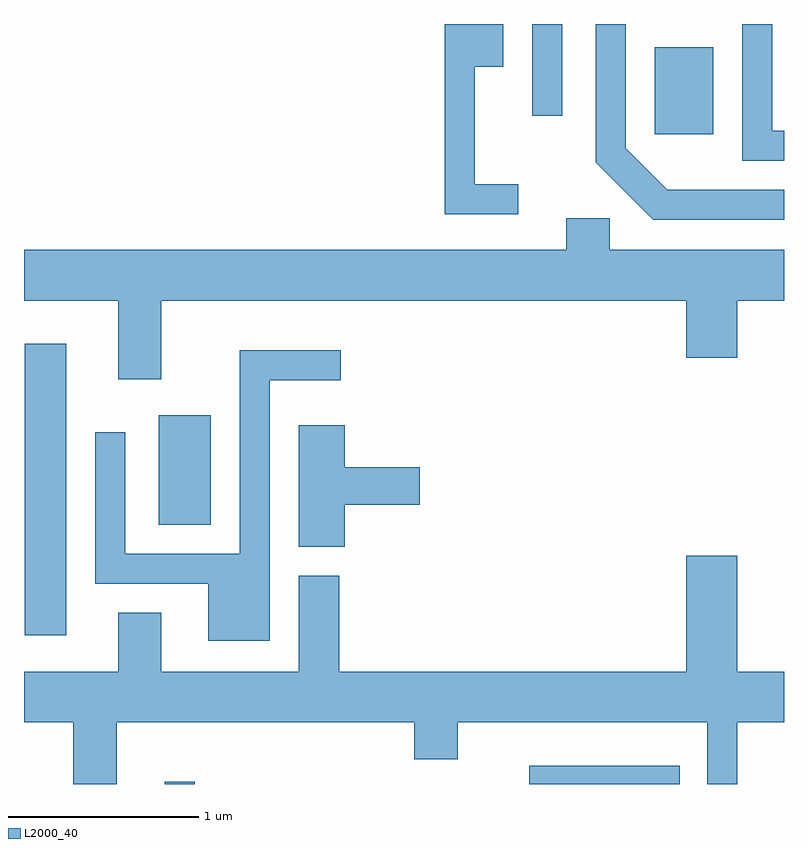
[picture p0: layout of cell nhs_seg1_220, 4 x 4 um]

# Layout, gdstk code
import gdstk
lib = gdstk.Library(unit=1e-6, precision=1e-09)
def R(c, l, rs):  # rectangles x0, y0, x1, y1
    for r in rs: c.add(gdstk.rectangle(r[:2], r[2:], *l))
def P(c, l, *ps):  # polygons
    for p in ps: c.add(gdstk.Polygon(p, *l))
L2000_40 = (2000, 40)

nhs_seg1_220 = lib.new_cell('nhs_seg1_220')
R(nhs_seg1_220, L2000_40, [(192.351,883.712,192.509,883.723), (194.271,883.712,195.063,883.809), (191.616,884.496,191.834,886.029), (192.321,885.076,192.594,885.654), (194.931,887.131,195.239,887.589), (194.286,887.228,194.444,887.712)])
P(nhs_seg1_220, L2000_40, [(194.213,886.869),(193.984,886.869),(193.984,887.486),(194.134,887.486),(194.134,887.712),(193.826,887.712),(193.826,886.711),(194.213,886.711)],
  [(195.611,886.839),(194.997,886.839),(194.779,887.057),(194.779,887.712),(194.621,887.712),(194.621,886.984),(194.924,886.681),(195.611,886.681)],
  [(195.611,887.149),(195.549,887.149),(195.549,887.712),(195.391,887.712),(195.391,886.991),(195.611,886.991)],
  [(192.334,886.256),(195.096,886.256),(195.096,885.956),(195.364,885.956),(195.364,886.256),(195.611,886.256),(195.611,886.524),(194.694,886.524),(194.694,886.689),(194.466,886.689),(194.466,886.524),(191.611,886.524),(191.611,886.256),(192.106,886.256),(192.106,885.841),(192.334,885.841)],
  [(192.904,885.836),(193.278,885.836),(193.278,885.994),(192.746,885.994),(192.746,884.924),(192.144,884.924),(192.144,885.563),(191.986,885.563),(191.986,884.766),(192.581,884.766),(192.581,884.466),(192.904,884.466)],
  [(193.299,885.181),(193.694,885.181),(193.694,885.379),(193.299,885.379),(193.299,885.599),(193.056,885.599),(193.056,884.961),(193.299,884.961)],
  [(192.099,884.036),(193.666,884.036),(193.666,883.841),(193.894,883.841),(193.894,884.036),(195.206,884.036),(195.206,883.712),(195.364,883.712),(195.364,884.036),(195.611,884.036),(195.611,884.304),(195.364,884.304),(195.364,884.914),(195.096,884.914),(195.096,884.304),(193.269,884.304),(193.269,884.809),(193.056,884.809),(193.056,884.304),(192.334,884.304),(192.334,884.614),(192.106,884.614),(192.106,884.304),(191.611,884.304),(191.611,884.036),(191.871,884.036),(191.871,883.712),(192.099,883.712)])

lib.write_gds('nhs_seg1_220.gds')
